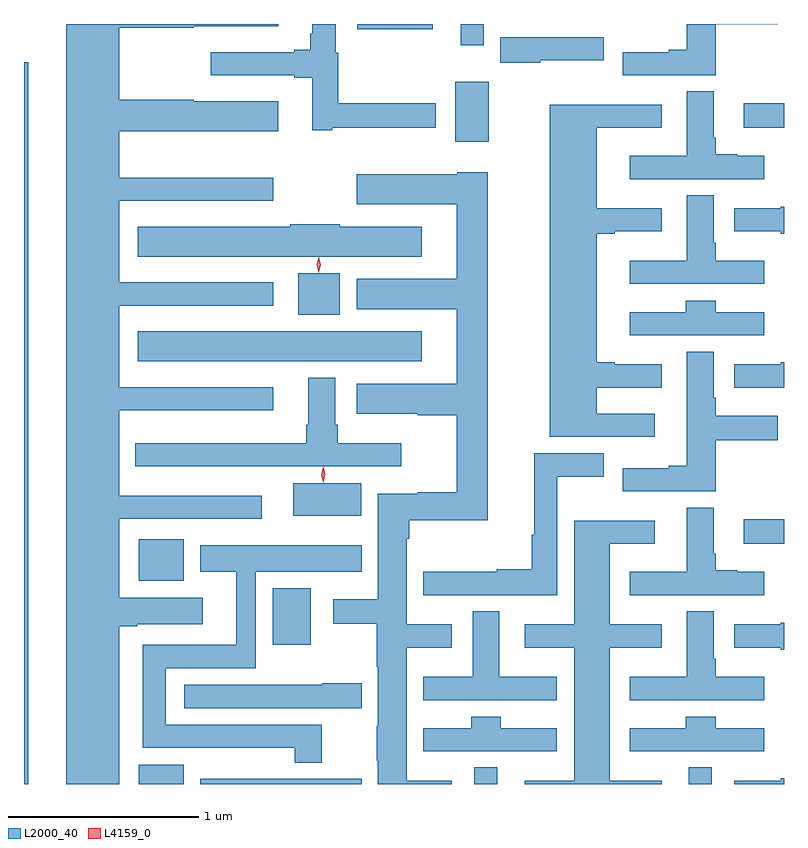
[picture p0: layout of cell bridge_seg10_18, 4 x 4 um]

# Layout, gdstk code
import gdstk
lib = gdstk.Library(unit=1e-6, precision=1e-09)
def R(c, l, rs):  # rectangles x0, y0, x1, y1
    for r in rs: c.add(gdstk.rectangle(r[:2], r[2:], *l))
def P(c, l, *ps):  # polygons
    for p in ps: c.add(gdstk.Polygon(p, *l))
L2000_40 = (2000, 40)
L4159_0 = (4159, 0)

bridge_seg10_18 = lib.new_cell('bridge_seg10_18')
R(bridge_seg10_18, L2000_40, [(1049.819,1323.946,1049.842,1327.744), (1050.422,1323.946,1050.661,1324.048), (1050.746,1323.946,1051.597,1323.973), (1052.189,1323.946,1052.311,1324.033), (1053.317,1323.946,1053.439,1324.033), (1051.127,1324.679,1051.327,1324.975), (1050.422,1325.015,1050.661,1325.233), (1053.606,1325.21,1053.819,1325.34), (1051.235,1325.357,1051.594,1325.53), (1050.417,1326.17,1051.912,1326.328), (1051.262,1326.416,1051.48,1326.634), (1052.09,1327.325,1052.266,1327.642), (1053.606,1327.4,1053.819,1327.53), (1052.117,1327.833,1052.239,1327.946), (1051.574,1327.919,1051.969,1327.946)])
P(bridge_seg10_18, L2000_40, [(1053.461,1327.945),(1053.787,1327.945),(1053.787,1327.946),(1053.308,1327.946),(1053.308,1327.811),(1053.212,1327.811),(1053.212,1327.798),(1052.97,1327.798),(1052.97,1327.676),(1053.461,1327.676)],
  [(1050.319,1324.775),(1050.415,1324.775),(1050.415,1324.787),(1050.76,1324.787),(1050.76,1324.927),(1050.319,1324.927),(1050.319,1325.342),(1051.069,1325.342),(1051.069,1325.464),(1050.319,1325.464),(1050.319,1325.912),(1051.132,1325.912),(1051.132,1326.034),(1050.319,1326.034),(1050.319,1326.464),(1051.132,1326.464),(1051.132,1326.586),(1050.319,1326.586),(1050.319,1327.016),(1051.132,1327.016),(1051.132,1327.138),(1050.319,1327.138),(1050.319,1327.382),(1051.156,1327.382),(1051.156,1327.54),(1050.713,1327.54),(1050.713,1327.548),(1050.319,1327.548),(1050.319,1327.927),(1050.713,1327.927),(1050.713,1327.934),(1051.156,1327.934),(1051.156,1327.946),(1050.041,1327.946),(1050.041,1323.946),(1050.319,1323.946)],
  [(1051.441,1327.4),(1051.987,1327.4),(1051.987,1327.53),(1051.472,1327.53),(1051.472,1327.794),(1051.459,1327.794),(1051.459,1327.946),(1051.337,1327.946),(1051.337,1327.894),(1051.325,1327.894),(1051.325,1327.811),(1051.241,1327.811),(1051.241,1327.798),(1050.801,1327.798),(1050.801,1327.676),(1051.241,1327.676),(1051.241,1327.664),(1051.337,1327.664),(1051.337,1327.388),(1051.441,1327.388)],
  [(1052.537,1327.754),(1052.869,1327.754),(1052.869,1327.876),(1052.325,1327.876),(1052.325,1327.742),(1052.537,1327.742)],
  [(1053.715,1327.252),(1053.573,1327.252),(1053.573,1327.26),(1053.461,1327.26),(1053.461,1327.348),(1053.448,1327.348),(1053.448,1327.591),(1053.308,1327.591),(1053.308,1327.252),(1053.006,1327.252),(1053.006,1327.13),(1053.715,1327.13)],
  [(1053.139,1325.896),(1052.833,1325.896),(1052.833,1326.032),(1053.175,1326.032),(1053.175,1326.154),(1052.929,1326.154),(1052.929,1326.167),(1052.833,1326.167),(1052.833,1326.842),(1052.929,1326.842),(1052.929,1326.854),(1053.175,1326.854),(1053.175,1326.976),(1052.833,1326.976),(1052.833,1327.4),(1053.175,1327.4),(1053.175,1327.522),(1052.585,1327.522),(1052.585,1325.774),(1053.139,1325.774)],
  [(1052.071,1323.964),(1051.834,1323.964),(1051.834,1324.664),(1052.071,1324.664),(1052.071,1324.786),(1051.834,1324.786),(1051.834,1325.237),(1051.847,1325.237),(1051.847,1325.333),(1052.26,1325.333),(1052.26,1327.165),(1052.1,1327.165),(1052.1,1327.156),(1051.569,1327.156),(1051.569,1326.998),(1052.096,1326.998),(1052.096,1326.604),(1051.569,1326.604),(1051.569,1326.446),(1052.096,1326.446),(1052.096,1326.052),(1051.569,1326.052),(1051.569,1325.894),(1051.891,1325.894),(1051.891,1325.887),(1052.096,1325.887),(1052.096,1325.481),(1051.891,1325.481),(1051.891,1325.473),(1051.682,1325.473),(1051.682,1324.918),(1051.446,1324.918),(1051.446,1324.789),(1051.675,1324.789),(1051.675,1324.564),(1051.682,1324.564),(1051.682,1324.25),(1051.675,1324.25),(1051.675,1324.069),(1051.682,1324.069),(1051.682,1323.946),(1052.071,1323.946)],
  [(1053.715,1326.7),(1053.461,1326.7),(1053.461,1326.796),(1053.448,1326.796),(1053.448,1327.045),(1053.308,1327.045),(1053.308,1326.7),(1053.006,1326.7),(1053.006,1326.578),(1053.715,1326.578)],
  [(1053.819,1326.984),(1053.802,1326.984),(1053.802,1326.976),(1053.558,1326.976),(1053.558,1326.854),(1053.802,1326.854),(1053.802,1326.842),(1053.819,1326.842)],
  [(1051.912,1326.88),(1051.481,1326.88),(1051.481,1326.893),(1051.219,1326.893),(1051.219,1326.88),(1050.417,1326.88),(1050.417,1326.722),(1051.912,1326.722)],
  [(1053.715,1326.43),(1053.461,1326.43),(1053.461,1326.49),(1053.301,1326.49),(1053.301,1326.43),(1053.006,1326.43),(1053.006,1326.308),(1053.715,1326.308)],
  [(1053.461,1325.755),(1053.787,1325.755),(1053.787,1325.884),(1053.461,1325.884),(1053.461,1325.98),(1053.448,1325.98),(1053.448,1326.22),(1053.308,1326.22),(1053.308,1325.621),(1053.212,1325.621),(1053.212,1325.608),(1052.97,1325.608),(1052.97,1325.486),(1053.461,1325.486)],
  [(1053.819,1326.167),(1053.802,1326.167),(1053.802,1326.154),(1053.558,1326.154),(1053.558,1326.032),(1053.819,1326.032)],
  [(1051.804,1325.74),(1051.469,1325.74),(1051.469,1325.836),(1051.456,1325.836),(1051.456,1326.085),(1051.316,1326.085),(1051.316,1325.836),(1051.304,1325.836),(1051.304,1325.74),(1050.404,1325.74),(1050.404,1325.618),(1051.804,1325.618)],
  [(1052.626,1325.564),(1052.869,1325.564),(1052.869,1325.686),(1052.504,1325.686),(1052.504,1325.258),(1052.492,1325.258),(1052.492,1325.075),(1052.308,1325.075),(1052.308,1325.062),(1051.919,1325.062),(1051.919,1324.94),(1052.626,1324.94)],
  [(1053.715,1325.062),(1053.573,1325.062),(1053.573,1325.07),(1053.461,1325.07),(1053.461,1325.158),(1053.448,1325.158),(1053.448,1325.401),(1053.308,1325.401),(1053.308,1325.062),(1053.006,1325.062),(1053.006,1324.94),(1053.715,1324.94)],
  [(1053.175,1323.964),(1052.902,1323.964),(1052.902,1324.664),(1053.175,1324.664),(1053.175,1324.786),(1052.902,1324.786),(1052.902,1325.21),(1053.139,1325.21),(1053.139,1325.332),(1052.714,1325.332),(1052.714,1324.786),(1052.454,1324.786),(1052.454,1324.664),(1052.714,1324.664),(1052.714,1323.964),(1052.454,1323.964),(1052.454,1323.946),(1053.175,1323.946)],
  [(1051.386,1324.258),(1050.565,1324.258),(1050.565,1324.556),(1051.039,1324.556),(1051.039,1325.063),(1051.597,1325.063),(1051.597,1325.203),(1050.746,1325.203),(1050.746,1325.063),(1050.935,1325.063),(1050.935,1324.678),(1050.443,1324.678),(1050.443,1324.136),(1051.244,1324.136),(1051.244,1324.058),(1051.386,1324.058)],
  [(1052.623,1324.51),(1052.32,1324.51),(1052.32,1324.855),(1052.18,1324.855),(1052.18,1324.51),(1051.919,1324.51),(1051.919,1324.388),(1052.623,1324.388)],
  [(1053.715,1324.51),(1053.461,1324.51),(1053.461,1324.606),(1053.448,1324.606),(1053.448,1324.855),(1053.308,1324.855),(1053.308,1324.51),(1053.006,1324.51),(1053.006,1324.388),(1053.715,1324.388)],
  [(1053.819,1324.794),(1053.802,1324.794),(1053.802,1324.786),(1053.558,1324.786),(1053.558,1324.664),(1053.802,1324.664),(1053.802,1324.652),(1053.819,1324.652)],
  [(1051.597,1324.476),(1051.39,1324.476),(1051.39,1324.468),(1050.663,1324.468),(1050.663,1324.346),(1051.597,1324.346)],
  [(1053.715,1324.24),(1053.461,1324.24),(1053.461,1324.3),(1053.301,1324.3),(1053.301,1324.24),(1053.006,1324.24),(1053.006,1324.118),(1053.715,1324.118)],
  [(1052.623,1324.24),(1052.328,1324.24),(1052.328,1324.3),(1052.173,1324.3),(1052.173,1324.24),(1051.919,1324.24),(1051.919,1324.118),(1052.623,1324.118)],
  [(1053.819,1323.977),(1053.802,1323.977),(1053.802,1323.964),(1053.558,1323.964),(1053.558,1323.946),(1053.819,1323.946)])
P(bridge_seg10_18, L4159_0, [(1051.394,1325.534),(1051.394,1325.534),(1051.384,1325.574),(1051.394,1325.615),(1051.394,1325.616),(1051.394,1325.615),(1051.404,1325.575),(1051.394,1325.534)],
  [(1051.37,1326.637),(1051.37,1326.637),(1051.36,1326.678),(1051.37,1326.718),(1051.37,1326.719),(1051.371,1326.718),(1051.38,1326.678),(1051.371,1326.637)])

lib.write_gds('bridge_seg10_18.gds')
